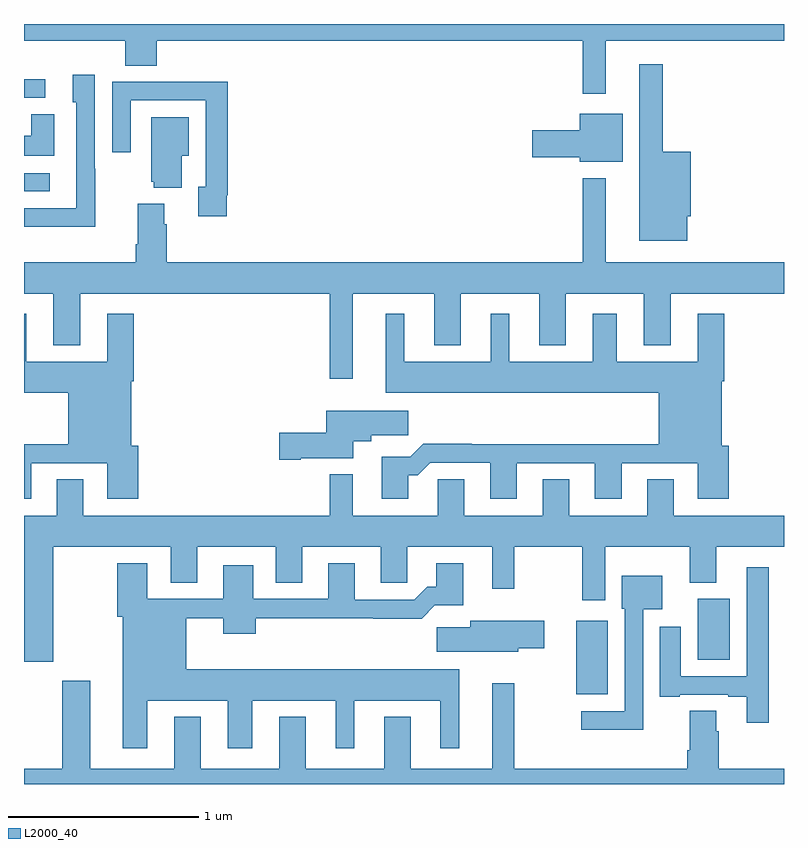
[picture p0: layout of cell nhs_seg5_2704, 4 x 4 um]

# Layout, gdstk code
import gdstk
lib = gdstk.Library(unit=1e-6, precision=1e-09)
def R(c, l, rs):  # rectangles x0, y0, x1, y1
    for r in rs: c.add(gdstk.rectangle(r[:2], r[2:], *l))
def P(c, l, *ps):  # polygons
    for p in ps: c.add(gdstk.Polygon(p, *l))
L2000_40 = (2000, 40)

nhs_seg5_2704 = lib.new_cell('nhs_seg5_2704')
R(nhs_seg5_2704, L2000_40, [(269.906,901.271,270.073,901.657), (270.545,901.454,270.715,901.774), (267,903.918,267.136,904.014), (267,904.41,267.112,904.508)])
P(nhs_seg5_2704, L2000_40, [(267,904.712),(267.533,904.712),(267.533,904.579),(267.698,904.579),(267.698,904.712),(269.94,904.712),(269.94,904.431),(270.061,904.431),(270.061,904.712),(271,904.712),(271,904.799),(267,904.799)],
  [(270.49,903.786),(270.508,903.786),(270.508,904.126),(270.361,904.126),(270.361,904.588),(270.239,904.588),(270.239,903.659),(270.49,903.659)],
  [(267.375,904.037),(267.372,904.037),(267.372,904.531),(267.257,904.531),(267.257,904.386),(267.276,904.386),(267.276,903.828),(267,903.828),(267,903.731),(267.375,903.731)],
  [(268.066,903.898),(268.073,903.898),(268.073,904.496),(267.781,904.496),(267.781,904.494),(267.465,904.494),(267.465,904.125),(267.561,904.125),(267.561,904.398),(267.957,904.398),(267.957,903.942),(267.917,903.942),(267.917,903.786),(268.066,903.786)],
  [(270.151,904.327),(269.924,904.327),(269.924,904.239),(269.676,904.239),(269.676,904.097),(269.924,904.097),(269.924,904.073),(270.151,904.073)],
  [(267.16,904.325),(267.039,904.325),(267.039,904.21),(267,904.21),(267,904.106),(267.16,904.106)],
  [(267.829,904.106),(267.868,904.106),(267.868,904.309),(267.671,904.309),(267.671,903.969),(267.683,903.969),(267.683,903.938),(267.829,903.938)],
  [(268.729,903.38),(269.159,903.38),(269.159,903.107),(269.299,903.107),(269.299,903.38),(269.711,903.38),(269.711,903.107),(269.851,903.107),(269.851,903.38),(270.263,903.38),(270.263,903.107),(270.403,903.107),(270.403,903.38),(271,903.38),(271,903.544),(270.061,903.544),(270.061,903.988),(269.94,903.988),(269.94,903.544),(267.752,903.544),(267.752,903.746),(267.739,903.746),(267.739,903.853),(267.599,903.853),(267.599,903.64),(267.587,903.64),(267.587,903.544),(267,903.544),(267,903.38),(267.155,903.38),(267.155,903.107),(267.295,903.107),(267.295,903.38),(268.608,903.38),(268.608,902.931),(268.729,902.931)],
  [(267.037,902.487),(267.437,902.487),(267.437,902.301),(267.602,902.301),(267.602,902.58),(267.565,902.58),(267.565,902.918),(267.578,902.918),(267.578,903.274),(267.437,903.274),(267.437,903.022),(267.013,903.022),(267.013,903.274),(267,903.274),(267,902.858),(267.233,902.858),(267.233,902.588),(267,902.588),(267,902.301),(267.037,902.301)],
  [(269.023,902.423),(269.072,902.423),(269.139,902.49),(269.453,902.49),(269.453,902.301),(269.593,902.301),(269.593,902.487),(270.005,902.487),(270.005,902.301),(270.145,902.301),(270.145,902.487),(270.545,902.487),(270.545,902.301),(270.71,902.301),(270.71,902.58),(270.673,902.58),(270.673,902.918),(270.686,902.918),(270.686,903.274),(270.545,903.274),(270.545,903.022),(270.121,903.022),(270.121,903.274),(269.993,903.274),(269.993,903.022),(269.554,903.022),(269.554,903.274),(269.456,903.274),(269.456,903.022),(269.002,903.022),(269.002,903.274),(268.904,903.274),(268.904,902.858),(270.341,902.858),(270.341,902.588),(269.357,902.588),(269.357,902.591),(269.102,902.591),(269.032,902.521),(268.883,902.521),(268.883,902.301),(269.023,902.301)],
  [(268.456,902.513),(268.732,902.513),(268.732,902.603),(268.828,902.603),(268.828,902.635),(269.023,902.635),(269.023,902.764),(268.592,902.764),(268.592,902.648),(268.344,902.648),(268.344,902.506),(268.456,902.506)],
  [(267.154,902.048),(267.773,902.048),(267.773,901.858),(267.913,901.858),(267.913,902.048),(268.325,902.048),(268.325,901.858),(268.465,901.858),(268.465,902.048),(268.877,902.048),(268.877,901.858),(269.016,901.858),(269.016,902.048),(269.465,902.048),(269.465,901.827),(269.579,901.827),(269.579,902.048),(269.938,902.048),(269.938,901.767),(270.058,901.767),(270.058,902.048),(270.503,902.048),(270.503,901.859),(270.643,901.859),(270.643,902.048),(271,902.048),(271,902.212),(270.421,902.212),(270.421,902.402),(270.281,902.402),(270.281,902.212),(269.869,902.212),(269.869,902.402),(269.729,902.402),(269.729,902.212),(269.317,902.212),(269.317,902.402),(269.178,902.402),(269.178,902.212),(268.729,902.212),(268.729,902.428),(268.608,902.428),(268.608,902.212),(267.313,902.212),(267.313,902.402),(267.173,902.402),(267.173,902.212),(267,902.212),(267,901.442),(267.154,901.442)],
  [(267.649,901.238),(268.073,901.238),(268.073,900.987),(268.201,900.987),(268.201,901.238),(268.64,901.238),(268.64,900.987),(268.738,900.987),(268.738,901.238),(269.192,901.238),(269.192,900.987),(269.29,900.987),(269.29,901.402),(267.853,901.402),(267.853,901.672),(268.049,901.672),(268.049,901.589),(268.22,901.589),(268.22,901.672),(268.837,901.672),(268.837,901.67),(269.093,901.67),(269.162,901.739),(269.311,901.739),(269.311,901.96),(269.171,901.96),(269.171,901.837),(269.122,901.837),(269.055,901.77),(268.741,901.77),(268.741,901.96),(268.601,901.96),(268.601,901.773),(268.207,901.773),(268.207,901.951),(268.049,901.951),(268.049,901.773),(267.649,901.773),(267.649,901.96),(267.49,901.96),(267.49,901.68),(267.521,901.68),(267.521,900.987),(267.649,900.987)],
  [(270.92,901.939),(270.804,901.939),(270.804,901.365),(270.457,901.365),(270.457,901.627),(270.347,901.627),(270.347,901.257),(270.451,901.257),(270.451,901.269),(270.707,901.269),(270.707,901.257),(270.803,901.257),(270.803,901.122),(270.92,901.122)],
  [(270.258,901.718),(270.358,901.718),(270.358,901.894),(270.146,901.894),(270.146,901.722),(270.162,901.722),(270.162,901.182),(269.934,901.182),(269.934,901.085),(270.258,901.085)],
  [(269.602,901.514),(269.737,901.514),(269.737,901.657),(269.348,901.657),(269.348,901.625),(269.172,901.625),(269.172,901.496),(269.602,901.496)],
  [(271,900.88),(270.656,900.88),(270.656,901.076),(270.643,901.076),(270.643,901.184),(270.503,901.184),(270.503,900.976),(270.491,900.976),(270.491,900.88),(269.579,900.88),(269.579,901.33),(269.465,901.33),(269.465,900.88),(269.035,900.88),(269.035,901.153),(268.895,901.153),(268.895,900.88),(268.483,900.88),(268.483,901.153),(268.343,901.153),(268.343,900.88),(267.931,900.88),(267.931,901.153),(267.791,901.153),(267.791,900.88),(267.349,900.88),(267.349,901.342),(267.202,901.342),(267.202,900.88),(267,900.88),(267,900.799),(271,900.799)])

lib.write_gds('nhs_seg5_2704.gds')
